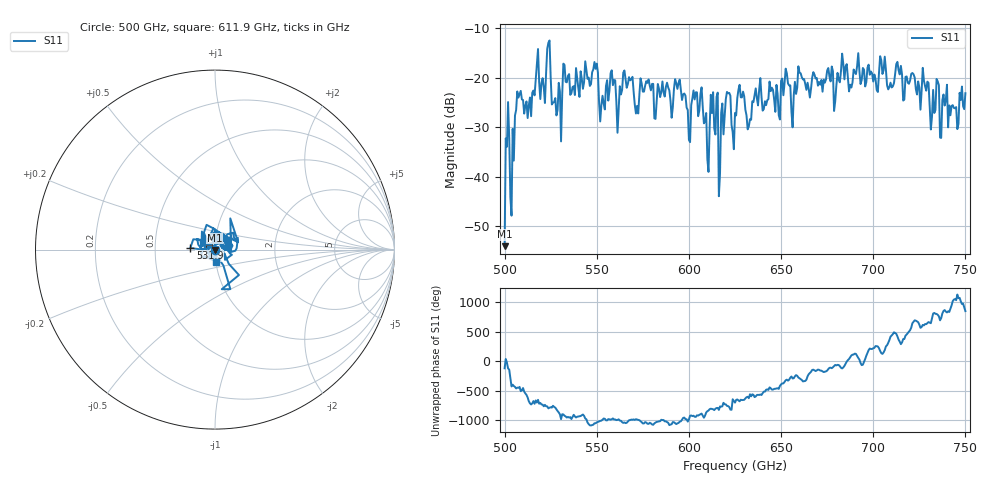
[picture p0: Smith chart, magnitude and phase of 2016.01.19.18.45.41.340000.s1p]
!Created with skrf (http://scikit-rf.org).
# GHz S RI R 50.0
!freq ReS11 ImS11
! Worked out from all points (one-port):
!   401 points, 500 GHz to 750 GHz, reference 50 ohm
!   lowest |S11| = -54.0 dB at 500 GHz (marker M1), VSWR 1.00, Z = 49.9 - j0.169 ohm
!   |S11| at or under -10 dB: start of sweep to end of sweep
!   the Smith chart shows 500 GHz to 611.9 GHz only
!   S11 on the Smith chart (normalised r, x): 500 GHz: 1.00, -0.00; 531.9 GHz: 0.76, +0.01; 611.9 GHz: 1.00, -0.13
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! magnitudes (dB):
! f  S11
! 500 GHz  -54.0
! 501.9 GHz  -24.9
! 504.4 GHz  -30.3
! 507.5 GHz  -24.0
! 520.6 GHz  -20.1
! 523.8 GHz  -13.0
! 526.9 GHz  -25.0
! 531.2 GHz  -23.5
! 531.9 GHz  -17.2
! 549.4 GHz  -18.3
! 552.5 GHz  -25.5
! 558.8 GHz  -21.5
! 562.5 GHz  -21.8
! 593.8 GHz  -22.3
! 600 GHz  -32.6
! 603.1 GHz  -24.4
! 609.4 GHz  -27.2
! 611.9 GHz  -23.5
! 617.5 GHz  -27.1
! 621.2 GHz  -23.2
! 625 GHz  -27.1
! 628.1 GHz  -24.0
! 632.5 GHz  -29.8
! 637.5 GHz  -25.6
! 656.2 GHz  -30.0
! 687.5 GHz  -21.4
! 718.8 GHz  -21.1
! 750 GHz  -23.2
